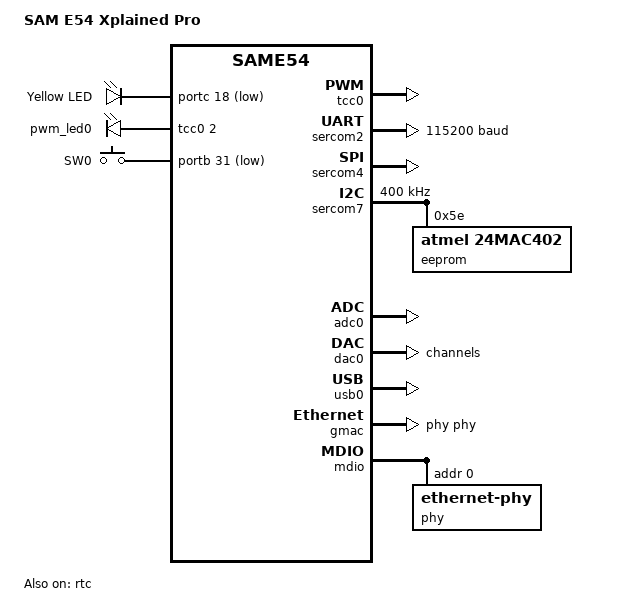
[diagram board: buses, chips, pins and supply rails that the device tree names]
/*
 * Copyright (c) 2019 Benjamin Valentin
 * # Copyright (c) 2024-2025 Gerson Fernando Budke <nandojve@gmail.com>
 *
 * SPDX-License-Identifier: Apache-2.0
 */

/dts-v1/;
#include <atmel/same5xx20.dtsi>
#include "same54_xpro-pinctrl.dtsi"
#include <zephyr/dt-bindings/input/input-event-codes.h>

/ {
	model = "SAM E54 Xplained Pro";
	compatible = "same54,xpro", "atmel,same54p20a", "atmel,same54";

	chosen {
		zephyr,console = &sercom2;
		zephyr,shell-uart = &sercom2;
		zephyr,sram = &sram0;
		zephyr,flash = &flash0;
	};

	/* These aliases are provided for compatibility with samples */
	aliases {
		led0 = &led0;
		pwm-led0 = &pwm_led0;
		sw0 = &button0;
		i2c-0 = &sercom7;
	};

	leds {
		compatible = "gpio-leds";

		led0: led_0 {
			gpios = <&portc 18 GPIO_ACTIVE_LOW>;
			label = "Yellow LED";
		};
	};

	pwmleds {
		compatible = "pwm-leds";

		pwm_led0: pwm_led_0 {
			pwms = <&tcc0 2 PWM_MSEC(20)>;
		};
	};

	buttons {
		compatible = "gpio-keys";

		button0: button_0 {
			gpios = <&portb 31 (GPIO_PULL_UP | GPIO_ACTIVE_LOW)>;
			label = "SW0";
			zephyr,code = <INPUT_KEY_0>;
		};
	};
};

&cpu0 {
	clock-frequency = <120000000>;
};

&tcc0 {
	status = "okay";
	compatible = "atmel,sam0-tcc-pwm";
	/* Gives a maximum period of 1.1s for 120MHz main clock */
	prescaler = <8>;
	#pwm-cells = <2>;

	pinctrl-0 = <&pwm_default>;
	pinctrl-names = "default";
};

&rtc {
	status = "okay";
	counter-mode = "clock";
	prescaler = <1024>;

	atmel,assigned-clocks = <&osc32kctrl 4>;
};

&sercom2 {
	status = "okay";
	compatible = "atmel,sam0-uart";
	current-speed = <115200>;
	rxpo = <1>;
	txpo = <0>;
	#address-cells = <1>;
	#size-cells = <0>;

	pinctrl-0 = <&sercom2_uart_default>;
	pinctrl-names = "default";
};

&sercom4 {
	status = "okay";
	compatible = "atmel,sam0-spi";
	dipo = <3>;
	dopo = <0>;
	#address-cells = <1>;
	#size-cells = <0>;

	pinctrl-0 = <&sercom4_spi_default>;
	pinctrl-names = "default";
};

&sercom7 {
	status = "okay";
	compatible = "atmel,sam0-i2c";
	clock-frequency = <I2C_BITRATE_FAST>;
	#address-cells = <1>;
	#size-cells = <0>;

	pinctrl-0 = <&sercom7_i2c_default>;
	pinctrl-names = "default";

	eeprom: eeprom@5e {
		compatible = "atmel,24mac402";
		reg = <0x5e>;
	};
};

&adc0 {
	status = "okay";
};

&dac0 {
	status = "okay";
	reference = "intref";

	channel_0 {
		oversampling = "OSR_1";
		refresh-period = <1>;
		current-control = "CC1M";
	};

	channel_1 {
		oversampling = "OSR_1";
		refresh-period = <1>;
		current-control = "CC1M";
	};

	pinctrl-0 = <&dac0_default>;
	pinctrl-names = "default";
};

zephyr_udc0: &usb0 {
	status = "okay";

	pinctrl-0 = <&usb_dc_default>;
	pinctrl-names = "default";
};

&gmac {
	status = "okay";

	pinctrl-0 = <&gmac_rmii>;
	pinctrl-names = "default";

	mac-eeprom = <&eeprom>;
	phy-handle = <&phy>;
};

&mdio {
	status = "okay";

	pinctrl-0 = <&mdio_default>;
	pinctrl-names = "default";

	phy: ethernet-phy@0 {
		compatible = "ethernet-phy";
		status = "okay";
		reg = <0>;
	};
};

&flash0 {
	partitions {
		compatible = "fixed-partitions";
		#address-cells = <1>;
		#size-cells = <1>;

		/*
		 * The final 16 KiB is reserved for the application.
		 * Storage partition will be used by FCB/LittleFS/NVS
		 * if enabled.
		 */
		storage_partition: partition@fc000 {
			label = "storage";
			reg = <0x000fc000 0x00004000>;
		};
	};
};
